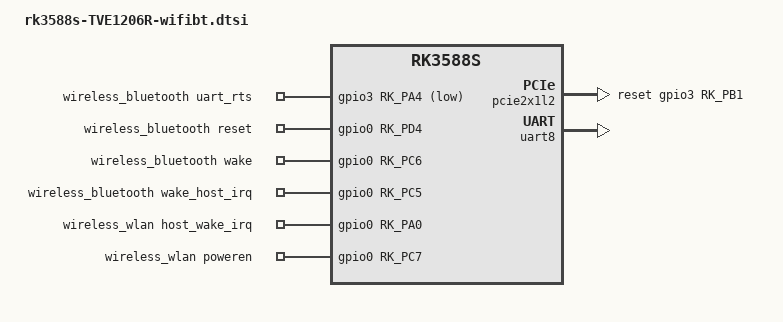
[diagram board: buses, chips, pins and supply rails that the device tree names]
// SPDX-License-Identifier: (GPL-2.0+ OR MIT)
/*
 * Copyright (c) 2021 Rockchip Electronics Co., Ltd.
 *
 */

/ {
	wireless_bluetooth: wireless-bluetooth {
		compatible = "bluetooth-platdata";
		clocks = <&hym8563>;
		clock-names = "ext_clock";
		uart_rts_gpios = <&gpio3 RK_PA4 GPIO_ACTIVE_LOW>;
		pinctrl-names = "default", "rts_gpio";
		pinctrl-0 = <&uart8m1_rtsn>, <&bt_reset_gpio>, <&bt_wake_gpio>, <&bt_wake_host_irq>;
		pinctrl-1 = <&uart8_gpios>;
		BT,reset_gpio    = <&gpio0 RK_PD4 GPIO_ACTIVE_HIGH>;
		BT,wake_gpio     = <&gpio0 RK_PC6 GPIO_ACTIVE_HIGH>;
		BT,wake_host_irq = <&gpio0 RK_PC5 GPIO_ACTIVE_HIGH>;
		status = "okay";
	};

	wireless_wlan: wireless-wlan {
		compatible = "wlan-platdata";
		wifi_chip_type = "ap6275p";
		pinctrl-names = "default";
		pinctrl-0 = <&wifi_host_wake_irq>, <&wifi_poweren_gpio>;
		WIFI,host_wake_irq = <&gpio0 RK_PA0 GPIO_ACTIVE_HIGH>;
		WIFI,poweren_gpio = <&gpio0 RK_PC7 GPIO_ACTIVE_HIGH>;
		status = "okay";
	};
};

&pcie2x1l2 {
	reset-gpios = <&gpio3 RK_PB1 GPIO_ACTIVE_HIGH>;
	rockchip,skip-scan-in-resume;
	status = "okay";
};

&uart8 {
	status = "okay";
	pinctrl-names = "default";
	pinctrl-0 = <&uart8m1_xfer &uart8m1_ctsn>;
};

&pinctrl {
	wireless-bluetooth {
		uart8_gpios: uart8-gpios {
			rockchip,pins = <3 RK_PA4 RK_FUNC_GPIO &pcfg_pull_none>;
		};

		bt_reset_gpio: bt-reset-gpio {
			rockchip,pins = <0 RK_PD4 RK_FUNC_GPIO &pcfg_pull_none>;
		};

		bt_wake_gpio: bt-wake-gpio {
			rockchip,pins = <0 RK_PC6 RK_FUNC_GPIO &pcfg_pull_none>;
		};

		bt_wake_host_irq: bt-wake-host-irq {
			rockchip,pins = <0 RK_PC5 RK_FUNC_GPIO &pcfg_pull_down>;
		};
	};

	wireless-wlan {
		wifi_host_wake_irq: wifi-host-wake-irq {
			rockchip,pins = <0 RK_PA0 RK_FUNC_GPIO &pcfg_pull_down>;
		};

		wifi_poweren_gpio: wifi-poweren-gpio {
			rockchip,pins = <0 RK_PC7 RK_FUNC_GPIO &pcfg_pull_up>;
		};
	};
};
